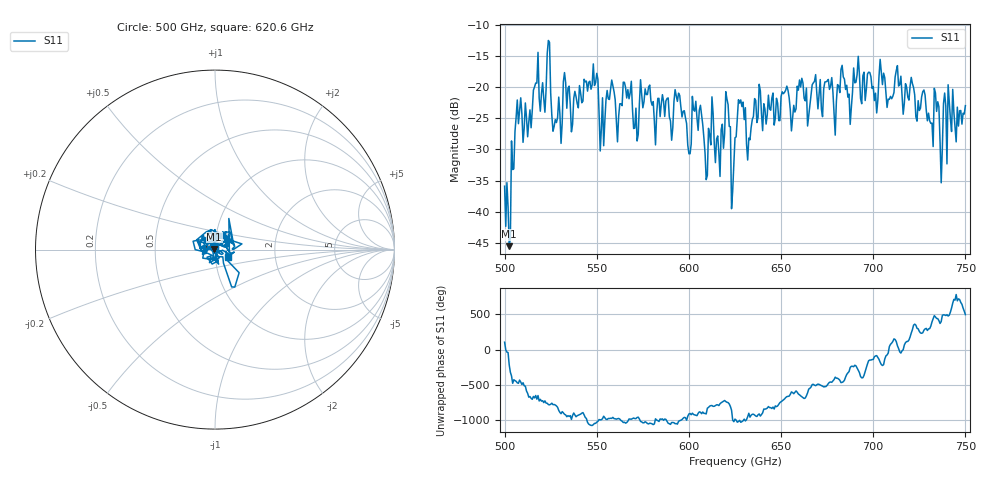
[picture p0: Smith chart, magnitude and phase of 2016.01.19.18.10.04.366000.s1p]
!Created with skrf (http://scikit-rf.org).
# GHz S RI R 50.0
!freq ReS11 ImS11
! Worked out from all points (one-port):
!   401 points, 500 GHz to 750 GHz, reference 50 ohm
!   lowest |S11| = -45.5 dB at 502.5 GHz (marker M1), VSWR 1.01, Z = 49.6 + j0.325 ohm
!   |S11| at or under -10 dB: start of sweep to end of sweep
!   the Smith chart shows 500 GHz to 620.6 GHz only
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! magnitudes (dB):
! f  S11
! 500 GHz  -35.9
! 502.5 GHz  -45.5
! 507.5 GHz  -25.9
! 513.8 GHz  -23.7
! 523.8 GHz  -12.5
! 526.9 GHz  -26.3
! 531.2 GHz  -25.7
! 549.4 GHz  -19.3
! 552.5 GHz  -26.6
! 558.1 GHz  -18.9
! 562.5 GHz  -22.7
! 593.8 GHz  -22.3
! 600 GHz  -30.7
! 603.1 GHz  -23.9
! 615.6 GHz  -27.8
! 621.2 GHz  -22.8
! 623.1 GHz  -39.5
! 625 GHz  -28.1
! 628.1 GHz  -22.1
! 632.5 GHz  -28.2
! 637.5 GHz  -24.9
! 656.2 GHz  -24.9
! 660.6 GHz  -20.0
! 687.5 GHz  -26.0
! 718.8 GHz  -21.6
! 734.4 GHz  -23.9
! 736.9 GHz  -35.3
! 750 GHz  -23.0
